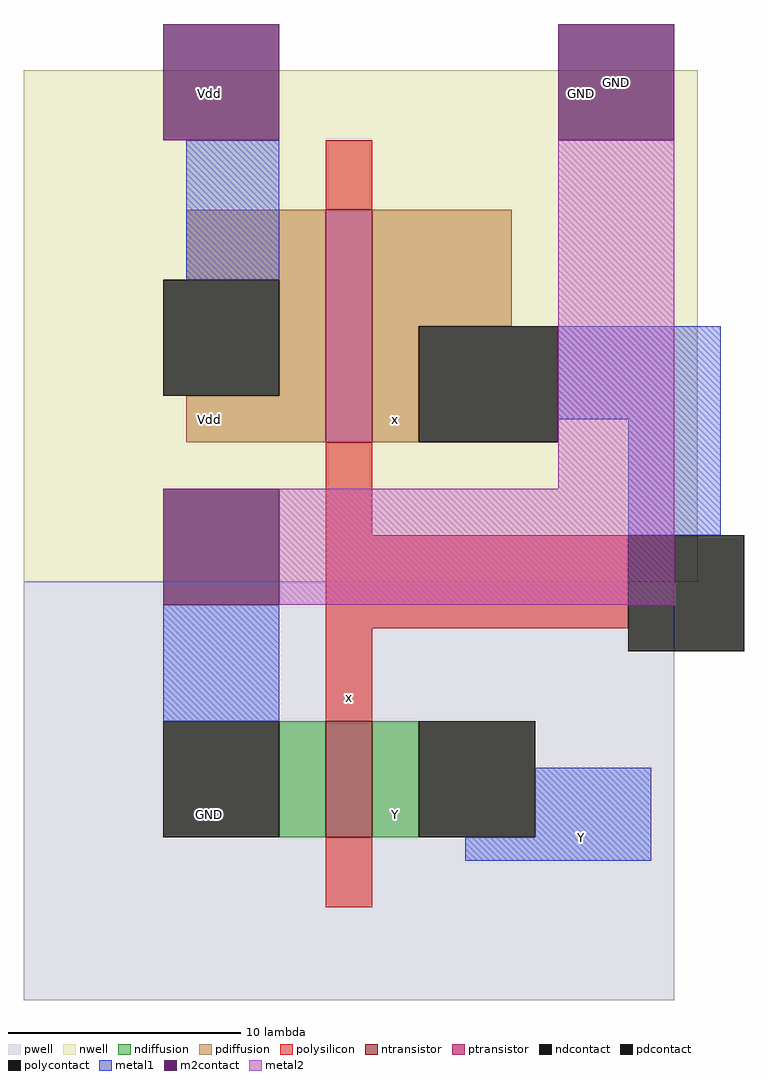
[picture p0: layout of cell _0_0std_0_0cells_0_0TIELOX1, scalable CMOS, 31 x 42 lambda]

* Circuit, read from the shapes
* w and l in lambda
.subckt _0_0std_0_0cells_0_0TIELOX1 GND Y Vdd
M1 Y x GND VSUBS nfet w=5 l=2
M2 x x Vdd n1 pfet w=10 l=2
.ends

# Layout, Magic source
magic
tech scmos
<< nwell >>
rect 1 16 30 38
<< pwell >>
rect 1 -2 29 16
<< ntransistor >>
rect 14 5 16 10
<< ptransistor >>
rect 14 22 16 32
<< ndiffusion >>
rect 12 5 14 10
rect 16 5 18 10
<< pdiffusion >>
rect 8 29 14 32
rect 12 24 14 29
rect 8 22 14 24
rect 16 27 22 32
rect 16 22 18 27
<< ndcontact >>
rect 7 5 12 10
rect 18 5 23 10
<< pdcontact >>
rect 7 24 12 29
rect 18 22 24 27
<< polysilicon >>
rect 14 32 16 35
rect 14 18 16 22
rect 14 14 27 18
rect 14 10 16 14
rect 14 2 16 5
<< polycontact >>
rect 27 13 32 18
<< metal1 >>
rect 8 29 12 35
rect 24 23 31 27
rect 7 10 12 15
rect 27 18 31 23
rect 23 5 28 8
rect 20 4 28 5
<< m2contact >>
rect 7 35 12 40
rect 24 35 29 40
rect 7 15 12 20
<< metal2 >>
rect 24 20 29 35
rect 12 15 29 20
<< labels >>
rlabel ndiffusion 17 6 17 6 3 Y
rlabel pdiffusion 17 23 17 23 3 x
rlabel polysilicon 15 11 15 11 3 x
rlabel ndcontact 9 6 9 6 3 GND
rlabel pdiffusion 9 23 9 23 3 Vdd
rlabel m2contact 25 37 25 37 3 GND
port 1 e
rlabel m2contact 9 37 9 37 3 Vdd
port 3 e
rlabel metal2 7 35 12 40 3 Vdd
rlabel metal1 25 5 25 5 3 Y
port 2 e
rlabel metal2 24 35 29 40 3 GND
<< end >>
